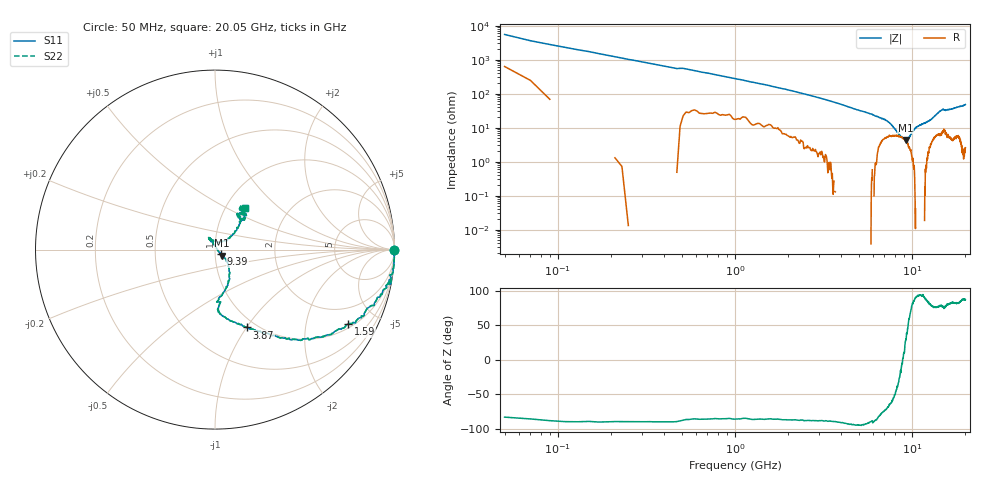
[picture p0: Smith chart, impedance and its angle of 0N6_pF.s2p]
! 500R07S0R6BV4
! Data taken April 11, 2003
! Data taken on a HP 8720C VNA using a series-through test fixture and TRL* de-embedding
#	mhz	s	ma	r	50
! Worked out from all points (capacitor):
!   1001 points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, 50 MHz to 20.05 GHz, reference 50 ohm
!   read as one part in series: C = 618 fF near 150 MHz
!   lowest |Z| = 4.35 ohm at 9.23 GHz (marker M1)
!   series resonance near 8.863 GHz, so ESL is about 520 pH
!   S11 on the Smith chart (normalised r, x): 50 MHz: open; 1.59 GHz: 1.17, -3.48; 3.87 GHz: 0.90, -1.00; 9.39 GHz: 1.07, -0.05; 20.05 GHz: 1.23, +0.62
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50  1 -0.1  0.01812 83.4  0.01812 83.4  1 -0.1
230  1 -5.0  0.08966 84.9  0.08966 84.9  1 -5.0
430  0.9972 -10.3  0.1655 79.9  0.1655 79.9  0.9972 -10.3
930  0.9434 -16.3  0.3165 68.7  0.3165 68.7  0.9434 -16.3
1590  0.849 -29.2  0.5036 56.4  0.5036 56.4  0.849 -29.2
3390  0.5363 -59.9  0.8202 30.3  0.8202 30.3  0.5363 -59.9
3870  0.4688 -67.7  0.8564 25.5  0.8564 25.5  0.4688 -67.7
5090  0.3525 -86.2  0.9149 15.2  0.9149 15.2  0.3525 -86.2
6730  0.2341 -76.4  0.9285 6.1  0.9285 6.1  0.2341 -76.4
8030  0.1327 -54.2  0.9628 1.0  0.9628 1.0  0.1327 -54.2
9230  0.053 -39.9  0.9682 -4.2  0.9682 -4.2  0.053 -39.9
9390  0.0415 -37.3  0.9651 -4.8  0.9651 -4.8  0.0415 -37.3
9830  0.01219 13.4  0.9702 -6.4  0.9702 -6.4  0.01219 13.4
10050  0.02186 96.0  0.9713 -7.1  0.9713 -7.1  0.02186 96.0
10410  0.05006 116.6  0.9683 -8.3  0.9683 -8.3  0.05006 116.6
10810  0.0654 118.7  0.9666 -9.6  0.9666 -9.6  0.0654 118.7
11470  0.07271 116.8  0.9725 -11.5  0.9725 -11.5  0.07271 116.8
12410  0.04573 73.2  0.9635 -15.2  0.9635 -15.2  0.04573 73.2
13390  0.1106 40.3  0.9575 -18.2  0.9575 -18.2  0.1106 40.3
14870  0.2411 47.8  0.9238 -23.1  0.9238 -23.1  0.2411 47.8
16730  0.2319 58.0  0.9156 -24.8  0.9156 -24.8  0.2319 58.0
20050  0.2856 54.4  0.8848 -37.2  0.8848 -37.2  0.2856 54.4
